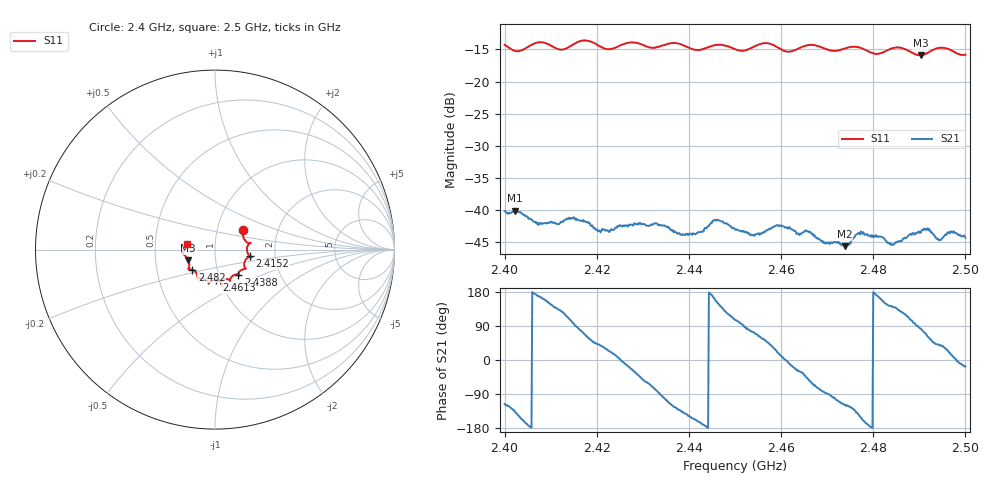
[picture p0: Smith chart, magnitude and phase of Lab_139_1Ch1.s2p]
# Hz S RI R 50
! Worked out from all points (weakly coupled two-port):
!   601 points, 2.4 GHz to 2.5 GHz, reference 50 ohm
!   highest |S21| = -40.17 dB at 2.4022 GHz (marker M1); lowest = -45.7 dB at 2.4738 GHz (marker M2)
!   lowest |S11| = -15.9 dB at 2.4903 GHz (marker M3), VSWR 1.38, Z = 36.8 - j4.46 ohm
!   |S11| at or under -10 dB: start of sweep to end of sweep
!   S12 and S22 are empty: the file has one direction only
!   S11 on the Smith chart (normalised r, x): 2.4 GHz: 1.33, +0.31; 2.4152 GHz: 1.47, -0.11; 2.4388 GHz: 1.24, -0.36; 2.4613 GHz: 0.96, -0.34; 2.482 GHz: 0.76, -0.17; 2.5 GHz: 0.72, +0.05
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2.4e9  0.158 0.1116  -0.00429 -0.00879  0 0  0 0
2.402167e9  0.1565 0.0757  -0.0069 -0.00697  0 0  0 0
2.407667e9  0.1992 0.0368  -0.00759 0.00178  0 0  0 0
2.412167e9  0.1774 0.00359  -0.00513 0.00617  0 0  0 0
2.415167e9  0.1936 -0.0372  -0.000472 0.00865  0 0  0 0
2.416667e9  0.2034 -0.0435  0.00204 0.00796  0 0  0 0
2.4205e9  0.1847 -0.0439  0.00521 0.00452  0 0  0 0
2.433333e9  0.132 -0.1317  0.000573 -0.00758  0 0  0 0
2.438833e9  0.13 -0.1406  -0.0048 -0.00422  0 0  0 0
2.445833e9  0.0835 -0.1737  -0.00751 0.00337  0 0  0 0
2.45e9  0.069 -0.1649  -0.00193 0.00678  0 0  0 0
2.456833e9  0.0383 -0.1955  0.00457 0.00519  0 0  0 0
2.461333e9  0.00757 -0.1711  0.00728 -0.000403  0 0  0 0
2.466667e9  -0.0351 -0.1901  0.00312 -0.00565  0 0  0 0
2.473833e9  -0.0858 -0.1596  -0.00247 -0.00457  0 0  0 0
2.477e9  -0.0964 -0.1573  -0.00556 -0.00353  0 0  0 0
2.482e9  -0.1256 -0.1117  -0.00561 0.00245  0 0  0 0
2.483333e9  -0.1396 -0.1088  -0.00445 0.00327  0 0  0 0
2.490333e9  -0.1491 -0.0591  0.000903 0.00656  0 0  0 0
2.494833e9  -0.1827 -0.0201  0.00469 0.0036  0 0  0 0
2.497e9  -0.1743 -0.0115  0.00656 0.00153  0 0  0 0
2.5e9  -0.1588 0.0326  0.00579 -0.00176  0 0  0 0
